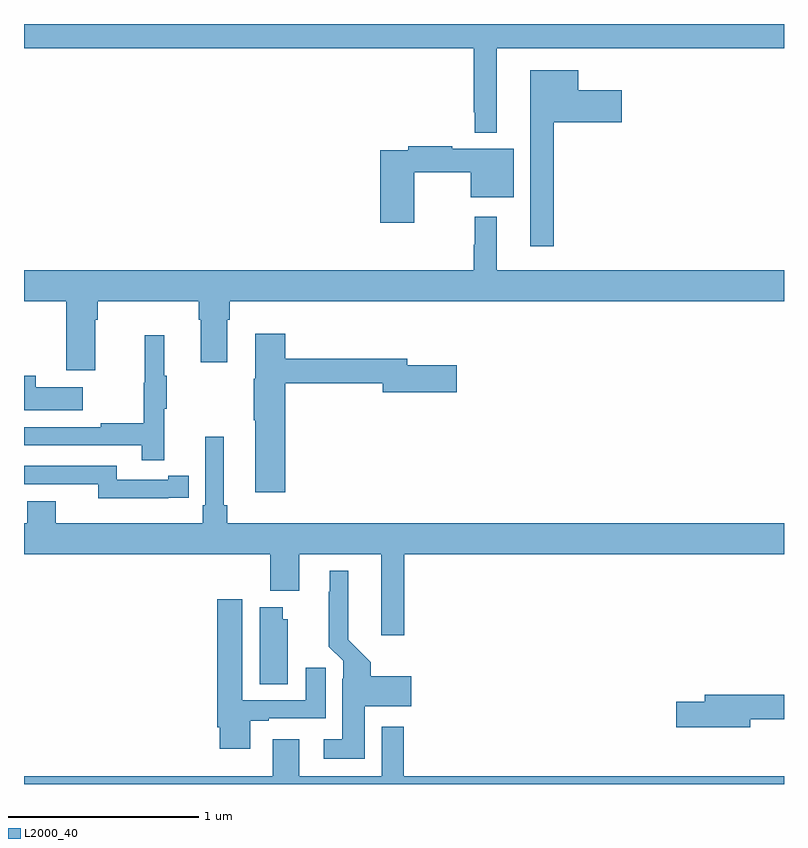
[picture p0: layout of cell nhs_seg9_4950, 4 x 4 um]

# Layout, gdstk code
import gdstk
lib = gdstk.Library(unit=1e-6, precision=1e-09)
def P(c, l, *ps):  # polygons
    for p in ps: c.add(gdstk.Polygon(p, *l))
L2000_40 = (2000, 40)

nhs_seg9_4950 = lib.new_cell('nhs_seg9_4950')
P(nhs_seg9_4950, L2000_40, [(399.487,1244.372),(401,1244.372),(401,1244.5),(397,1244.5),(397,1244.372),(399.366,1244.372),(399.366,1244.035),(399.372,1244.035),(399.372,1243.928),(399.487,1243.928)],
  [(399.787,1243.982),(400.147,1243.982),(400.147,1244.152),(399.916,1244.152),(399.916,1244.257),(399.665,1244.257),(399.665,1243.329),(399.787,1243.329)],
  [(399.054,1243.72),(399.35,1243.72),(399.35,1243.589),(399.577,1243.589),(399.577,1243.843),(399.254,1243.843),(399.254,1243.856),(399.022,1243.856),(399.022,1243.836),(398.876,1243.836),(398.876,1243.455),(399.054,1243.455)],
  [(397.375,1242.944),(397.388,1242.944),(397.388,1243.04),(397.919,1243.04),(397.919,1242.944),(397.931,1242.944),(397.931,1242.72),(398.071,1242.72),(398.071,1242.944),(398.084,1242.944),(398.084,1243.04),(401,1243.04),(401,1243.204),(399.487,1243.204),(399.487,1243.486),(399.373,1243.486),(399.373,1243.337),(399.366,1243.337),(399.366,1243.204),(397,1243.204),(397,1243.04),(397.223,1243.04),(397.223,1242.678),(397.375,1242.678)],
  [(398.375,1242.61),(398.888,1242.61),(398.888,1242.563),(399.277,1242.563),(399.277,1242.705),(399.016,1242.705),(399.016,1242.739),(398.375,1242.739),(398.375,1242.871),(398.216,1242.871),(398.216,1242.633),(398.209,1242.633),(398.209,1242.415),(398.216,1242.415),(398.216,1242.036),(398.375,1242.036)],
  [(397.739,1242.475),(397.75,1242.475),(397.75,1242.649),(397.739,1242.649),(397.739,1242.862),(397.636,1242.862),(397.636,1242.612),(397.629,1242.612),(397.629,1242.398),(397.405,1242.398),(397.405,1242.378),(397,1242.378),(397,1242.282),(397.621,1242.282),(397.621,1242.204),(397.739,1242.204)],
  [(397.309,1242.589),(397.061,1242.589),(397.061,1242.649),(397,1242.649),(397,1242.467),(397.309,1242.467)],
  [(399.002,1241.708),(401,1241.708),(401,1241.872),(398.069,1241.872),(398.069,1241.968),(398.05,1241.968),(398.05,1242.328),(397.953,1242.328),(397.953,1241.968),(397.94,1241.968),(397.94,1241.872),(397.168,1241.872),(397.168,1241.989),(397.016,1241.989),(397.016,1241.872),(397,1241.872),(397,1241.708),(398.297,1241.708),(398.297,1241.516),(398.449,1241.516),(398.449,1241.708),(398.879,1241.708),(398.879,1241.283),(399.002,1241.283)],
  [(397.76,1242.006),(397.868,1242.006),(397.868,1242.122),(397.76,1242.122),(397.76,1242.102),(397.488,1242.102),(397.488,1242.174),(397,1242.174),(397,1242.078),(397.392,1242.078),(397.392,1242.005),(397.76,1242.005)],
  [(398.794,1240.91),(399.037,1240.91),(399.037,1241.068),(398.825,1241.068),(398.825,1241.142),(398.707,1241.26),(398.707,1241.623),(398.609,1241.623),(398.609,1241.513),(398.605,1241.513),(398.605,1241.222),(398.679,1241.148),(398.679,1241.054),(398.675,1241.054),(398.675,1240.735),(398.577,1240.735),(398.577,1240.634),(398.794,1240.634)],
  [(398.191,1240.833),(398.287,1240.833),(398.287,1240.845),(398.587,1240.845),(398.587,1241.113),(398.483,1241.113),(398.483,1240.941),(398.149,1240.941),(398.149,1241.473),(398.018,1241.473),(398.018,1240.798),(398.03,1240.798),(398.03,1240.686),(398.191,1240.686)],
  [(398.389,1241.367),(398.362,1241.367),(398.362,1241.431),(398.24,1241.431),(398.24,1241.026),(398.389,1241.026)],
  [(400.822,1240.842),(401,1240.842),(401,1240.97),(400.583,1240.97),(400.583,1240.934),(400.434,1240.934),(400.434,1240.799),(400.822,1240.799)],
  [(401,1240.54),(398.999,1240.54),(398.999,1240.801),(398.883,1240.801),(398.883,1240.54),(398.449,1240.54),(398.449,1240.735),(398.309,1240.735),(398.309,1240.54),(397,1240.54),(397,1240.5),(401,1240.5)])

lib.write_gds('nhs_seg9_4950.gds')
